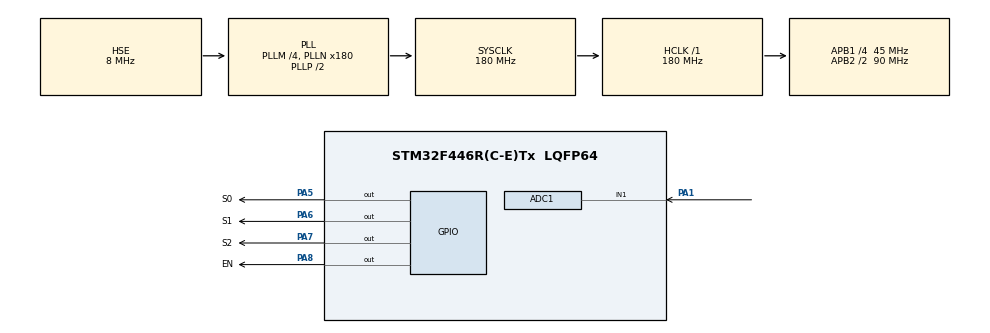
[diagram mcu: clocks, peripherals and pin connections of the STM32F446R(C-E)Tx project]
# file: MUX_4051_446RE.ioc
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ADC1.Channel-0\#ChannelRegularConversion=ADC_CHANNEL_1
ADC1.NbrOfConversionFlag=1
ADC1.Rank-0\#ChannelRegularConversion=1
ADC1.SamplingTime-0\#ChannelRegularConversion=ADC_SAMPLETIME_112CYCLES
ADC1.master=1
Mcu.Family=STM32F4
Mcu.Name=STM32F446R(C-E)Tx
Mcu.Package=LQFP64
NVIC.PriorityGroup=NVIC_PRIORITYGROUP_4
PA1.Signal=ADCx_IN1
PA5.GPIO_Label=S0
PA5.Signal=GPIO_Output
PA6.GPIO_Label=S1
PA6.Signal=GPIO_Output
PA7.GPIO_Label=S2
PA7.Signal=GPIO_Output
PA8.GPIO_Label=EN
PA8.Signal=GPIO_Output
PH0-OSC_IN.Mode=HSE-External-Oscillator
PH0-OSC_IN.Signal=RCC_OSC_IN
PH1-OSC_OUT.Mode=HSE-External-Oscillator
PH1-OSC_OUT.Signal=RCC_OSC_OUT
ProjectManager.HeapSize=0x200
ProjectManager.StackSize=0x400
ProjectManager.TargetToolchain=STM32CubeIDE
RCC.AHBFreq_Value=180000000
RCC.APB1CLKDivider=RCC_HCLK_DIV4
RCC.APB1Freq_Value=45000000
RCC.APB1TimFreq_Value=90000000
RCC.APB2CLKDivider=RCC_HCLK_DIV2
RCC.APB2Freq_Value=90000000
RCC.APB2TimFreq_Value=180000000
RCC.CortexFreq_Value=180000000
RCC.HCLKFreq_Value=180000000
RCC.HSE_VALUE=8000000
RCC.PLLM=4
RCC.PLLN=180
RCC.PLLSourceVirtual=RCC_PLLSOURCE_HSE
RCC.SYSCLKFreq_VALUE=180000000
RCC.SYSCLKSource=RCC_SYSCLKSOURCE_PLLCLK
RCC.USBFreq_Value=180000000
RCC.VCOOutputFreq_Value=360000000
SH.ADCx_IN1.0=ADC1_IN1,IN1
board=custom

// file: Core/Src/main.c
/* USER CODE BEGIN Header */
/**
  ******************************************************************************
  * @file           : main.c
  * @brief          : Main program body
  ******************************************************************************
  * @attention
  *
  * <h2><center>&copy; Copyright (c) 2019 STMicroelectronics.
  * All rights reserved.</center></h2>
  *
  * This software component is licensed by ST under BSD 3-Clause license,
  * the "License"; You may not use this file except in compliance with the
  * License. You may obtain a copy of the License at:
  *                        opensource.org/licenses/BSD-3-Clause
  *
  ******************************************************************************
  */
/* USER CODE END Header */

#include "main.h"

ADC_HandleTypeDef hadc1;

void SystemClock_Config(void);
static void MX_GPIO_Init(void);
static void MX_ADC1_Init(void);

/* USER CODE BEGIN 0 */

#define selectpinsPort GPIOA

const int selectPins[3] = {S0_Pin, S1_Pin, S2_Pin};

// The selectMuxPin function sets the S0, S1, and S2 pins
// accordingly, given a pin from 0-7.
void selectMuxPin(int pin)
{
  for (int i=0; i<3; i++)
  {
    if (pin & (1<<i))
      HAL_GPIO_WritePin(selectpinsPort, selectPins[i], GPIO_PIN_SET);
    else
      HAL_GPIO_WritePin(selectpinsPort, selectPins[i], GPIO_PIN_RESET);
  }
}

uint16_t value[8] = {0,0,0,0,0,0,0,0};

/* USER CODE END 0 */

int main(void)
{

  /* MCU Configuration--------------------------------------------------------*/

  /* Reset of all peripherals, Initializes the Flash interface and the Systick. */
  HAL_Init();

  /* Configure the system clock */
  SystemClock_Config();

  /* Initialize all configured peripherals */
  MX_GPIO_Init();
  MX_ADC1_Init();
  /* USER CODE BEGIN 2 */

  HAL_GPIO_WritePin(GPIOA, EN_Pin, GPIO_PIN_RESET);   // pull the EN pin low

  // set all the select pins
  for (int i=0; i<3; i++)
  {
	  HAL_GPIO_WritePin(selectpinsPort, selectPins[i], GPIO_PIN_SET);
  }

  /* USER CODE END 2 */

  /* Infinite loop */
  while (1)
  {

    /* USER CODE BEGIN 3 */

	  for (int i=0; i<3; i++)
	  {
		  selectMuxPin(i);  // select one mux pin at a time

		  HAL_ADC_Start(&hadc1); // start the ADC

		  HAL_ADC_PollForConversion(&hadc1, 100);  // poll for conversion

		  value[i] = HAL_ADC_GetValue(&hadc1);  // store adc value in value

		  HAL_ADC_Stop(&hadc1);
	  }

	  HAL_Delay(200);

  }
	  // DEMUX

	/*
	for (int i=0; i<8; i++)
	  {
		  selectMuxPin(i);
		  HAL_GPIO_WritePin(Z_GPIO_Port, Z_Pin, GPIO_PIN_RESET);
		  HAL_Delay(250);
	  }
	*/
  /* USER CODE END 3 */
}

void SystemClock_Config(void)
{
  RCC_OscInitTypeDef RCC_OscInitStruct = {0};
  RCC_ClkInitTypeDef RCC_ClkInitStruct = {0};

  /** Configure the main internal regulator output voltage
  */
  __HAL_RCC_PWR_CLK_ENABLE();
  __HAL_PWR_VOLTAGESCALING_CONFIG(PWR_REGULATOR_VOLTAGE_SCALE1);
  /** Initializes the CPU, AHB and APB busses clocks
  */
  RCC_OscInitStruct.OscillatorType = RCC_OSCILLATORTYPE_HSE;
  RCC_OscInitStruct.HSEState = RCC_HSE_ON;
  RCC_OscInitStruct.PLL.PLLState = RCC_PLL_ON;
  RCC_OscInitStruct.PLL.PLLSource = RCC_PLLSOURCE_HSE;
  RCC_OscInitStruct.PLL.PLLM = 4;
  RCC_OscInitStruct.PLL.PLLN = 180;
  RCC_OscInitStruct.PLL.PLLP = RCC_PLLP_DIV2;
  RCC_OscInitStruct.PLL.PLLQ = 2;
  RCC_OscInitStruct.PLL.PLLR = 2;
  if (HAL_RCC_OscConfig(&RCC_OscInitStruct) != HAL_OK)
  {
    Error_Handler();
  }
  /** Activate the Over-Drive mode
  */
  if (HAL_PWREx_EnableOverDrive() != HAL_OK)
  {
    Error_Handler();
  }
  /** Initializes the CPU, AHB and APB busses clocks
  */
  RCC_ClkInitStruct.ClockType = RCC_CLOCKTYPE_HCLK|RCC_CLOCKTYPE_SYSCLK
                              |RCC_CLOCKTYPE_PCLK1|RCC_CLOCKTYPE_PCLK2;
  RCC_ClkInitStruct.SYSCLKSource = RCC_SYSCLKSOURCE_PLLCLK;
  RCC_ClkInitStruct.AHBCLKDivider = RCC_SYSCLK_DIV1;
  RCC_ClkInitStruct.APB1CLKDivider = RCC_HCLK_DIV4;
  RCC_ClkInitStruct.APB2CLKDivider = RCC_HCLK_DIV2;

  if (HAL_RCC_ClockConfig(&RCC_ClkInitStruct, FLASH_LATENCY_5) != HAL_OK)
  {
    Error_Handler();
  }
}

static void MX_ADC1_Init(void)
{

  ADC_ChannelConfTypeDef sConfig = {0};

  /** Configure the global features of the ADC (Clock, Resolution, Data Alignment and number of conversion)
  */
  hadc1.Instance = ADC1;
  hadc1.Init.ClockPrescaler = ADC_CLOCK_SYNC_PCLK_DIV4;
  hadc1.Init.Resolution = ADC_RESOLUTION_12B;
  hadc1.Init.ScanConvMode = DISABLE;
  hadc1.Init.ContinuousConvMode = DISABLE;
  hadc1.Init.DiscontinuousConvMode = DISABLE;
  hadc1.Init.ExternalTrigConvEdge = ADC_EXTERNALTRIGCONVEDGE_NONE;
  hadc1.Init.ExternalTrigConv = ADC_SOFTWARE_START;
  hadc1.Init.DataAlign = ADC_DATAALIGN_RIGHT;
  hadc1.Init.NbrOfConversion = 1;
  hadc1.Init.DMAContinuousRequests = DISABLE;
  hadc1.Init.EOCSelection = ADC_EOC_SINGLE_CONV;
  if (HAL_ADC_Init(&hadc1) != HAL_OK)
  {
    Error_Handler();
  }
  /** Configure for the selected ADC regular channel its corresponding rank in the sequencer and its sample time.
  */
  sConfig.Channel = ADC_CHANNEL_1;
  sConfig.Rank = 1;
  sConfig.SamplingTime = ADC_SAMPLETIME_112CYCLES;
  if (HAL_ADC_ConfigChannel(&hadc1, &sConfig) != HAL_OK)
  {
    Error_Handler();
  }

}

static void MX_GPIO_Init(void)
{
  GPIO_InitTypeDef GPIO_InitStruct = {0};

  /* GPIO Ports Clock Enable */
  __HAL_RCC_GPIOH_CLK_ENABLE();
  __HAL_RCC_GPIOA_CLK_ENABLE();

  /*Configure GPIO pin Output Level */
  HAL_GPIO_WritePin(GPIOA, S0_Pin|S1_Pin|S2_Pin|EN_Pin, GPIO_PIN_RESET);

  /*Configure GPIO pins : S0_Pin S1_Pin S2_Pin EN_Pin */
  GPIO_InitStruct.Pin = S0_Pin|S1_Pin|S2_Pin|EN_Pin;
  GPIO_InitStruct.Mode = GPIO_MODE_OUTPUT_PP;
  GPIO_InitStruct.Pull = GPIO_NOPULL;
  GPIO_InitStruct.Speed = GPIO_SPEED_FREQ_LOW;
  HAL_GPIO_Init(GPIOA, &GPIO_InitStruct);

}

void Error_Handler(void)
{
}

/************************ (C) COPYRIGHT STMicroelectronics *****END OF FILE****/
